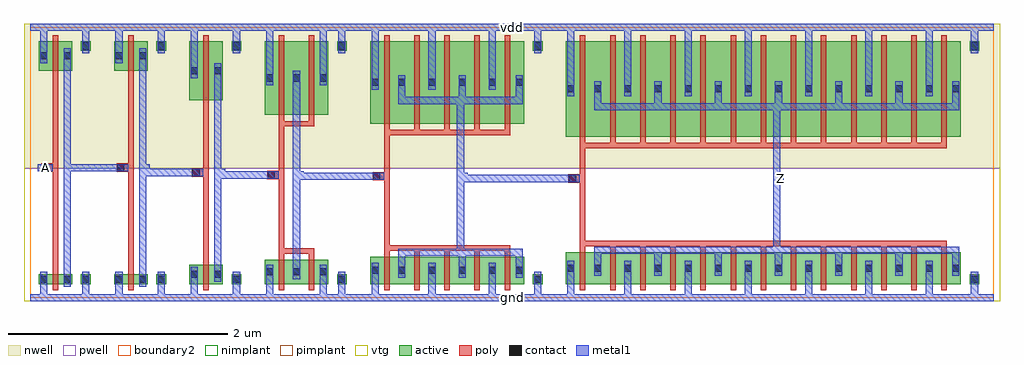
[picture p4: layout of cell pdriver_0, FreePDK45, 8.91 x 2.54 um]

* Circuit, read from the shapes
.subckt pdriver_0 A Z gnd vdd
M1 pinv_7_1/A A gnd gnd nfet w=0.09u l=0.05u
M2 pinv_8_2/A pinv_7_1/A gnd gnd nfet w=0.09u l=0.05u
M3 pinv_9_3/A pinv_8_2/A gnd gnd nfet w=0.18u l=0.05u
M4 pinv_10_4/A pinv_9_3/A gnd gnd nfet w=0.225u l=0.05u m=2
M5 pinv_11_5/A pinv_10_4/A gnd gnd nfet w=0.2525u l=0.05u m=5
M6 Z pinv_11_5/A gnd gnd nfet w=0.29u l=0.05u m=13
M7 pinv_7_1/A A vdd vdd pfet w=0.27u l=0.05u
M8 pinv_8_2/A pinv_7_1/A vdd vdd pfet w=0.27u l=0.05u
M9 pinv_9_3/A pinv_8_2/A vdd vdd pfet w=0.54u l=0.05u
M10 pinv_10_4/A pinv_9_3/A vdd vdd pfet w=0.675u l=0.05u m=2
M11 pinv_11_5/A pinv_10_4/A vdd vdd pfet w=0.755u l=0.05u m=5
M12 Z pinv_11_5/A vdd vdd pfet w=0.8725u l=0.05u m=13
.ends

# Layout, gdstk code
import gdstk
lib = gdstk.Library(unit=1e-6, precision=5e-10)
def R(c, l, rs):  # rectangles x0, y0, x1, y1
    for r in rs: c.add(gdstk.rectangle(r[:2], r[2:], *l))
def A(c, l, x, y, w, h, nx, ny, dx, dy):  # array of equal rectangles
    R(c, l, [(x+i*dx, y+j*dy, x+i*dx+w, y+j*dy+h) for i in range(nx) for j in range(ny)])
active = (1, 0)
pwell = (2, 0)
nwell = (3, 0)
nimplant = (4, 0)
pimplant = (5, 0)
vtg = (6, 0)
poly = (9, 0)
contact = (10, 0)
metal1 = (11, 0)
boundary2 = (239, 0)

contact_10 = lib.new_cell('contact_10')
R(contact_10, active, [(0,0.0225,0.09,0.1125)])
R(contact_10, nwell, [(-0.055,-0.0325,0.145,0.1675)])
R(contact_10, pimplant, [(0,0.0225,0.09,0.1125)])
R(contact_10, contact, [(0.0125,0.035,0.0775,0.1)])
R(contact_10, metal1, [(0.0125,0,0.0775,0.135)])
R(contact_10, boundary2, [(-0.055,-0.0325,0.145,0.1675)])

pmos_m1_w0_270_sm1_dm1_d = lib.new_cell('pmos_m1_w0_270_sm1_dm1_da_p')
R(pmos_m1_w0_270_sm1_dm1_d, active, [(0,0,0.305,0.27)])
R(pmos_m1_w0_270_sm1_dm1_d, nwell, [(-0.08,-0.08,0.385,0.35)])
R(pmos_m1_w0_270_sm1_dm1_d, pimplant, [(0,0,0.305,0.27)])
R(pmos_m1_w0_270_sm1_dm1_d, vtg, [(-0.08,-0.08,0.385,0.35)])
R(pmos_m1_w0_270_sm1_dm1_d, poly, [(0.1275,-0.055,0.1775,0.325), (0.1275,-0.055,0.1775,0.325)])
R(pmos_m1_w0_270_sm1_dm1_d, metal1, [(0.0125,0.0675,0.0775,0.2025), (0.2275,0.0675,0.2925,0.2025)])
R(pmos_m1_w0_270_sm1_dm1_d, boundary2, [(-0.08,-0.08,0.385,0.35)])
pmos_m1_w0_270_sm1_dm1_d.add(gdstk.Reference(contact_10, (0,0.0675)))
pmos_m1_w0_270_sm1_dm1_d.add(gdstk.Reference(contact_10, (0.215,0.0675)))
pmos_m1_w0_270_sm1_dm1_d.add(gdstk.Label('G', (0.1525,0.135), layer=9, texttype=0))
pmos_m1_w0_270_sm1_dm1_d.add(gdstk.Label('S', (0.045,0.135), layer=11, texttype=0))
pmos_m1_w0_270_sm1_dm1_d.add(gdstk.Label('D', (0.26,0.135), layer=11, texttype=0))

contact_9 = lib.new_cell('contact_9')
R(contact_9, active, [(0,0.0225,0.09,0.1125)])
R(contact_9, pwell, [(-0.055,-0.0325,0.145,0.1675)])
R(contact_9, nimplant, [(0,0.0225,0.09,0.1125)])
R(contact_9, contact, [(0.0125,0.035,0.0775,0.1)])
R(contact_9, metal1, [(0.0125,0,0.0775,0.135)])
R(contact_9, boundary2, [(-0.055,-0.0325,0.145,0.1675)])

nmos_m1_w0_090_sm1_dm1_d = lib.new_cell('nmos_m1_w0_090_sm1_dm1_da_p')
R(nmos_m1_w0_090_sm1_dm1_d, active, [(0,0,0.305,0.09)])
R(nmos_m1_w0_090_sm1_dm1_d, pwell, [(-0.08,-0.08,0.385,0.17)])
R(nmos_m1_w0_090_sm1_dm1_d, nimplant, [(0,0,0.305,0.09)])
R(nmos_m1_w0_090_sm1_dm1_d, vtg, [(-0.08,-0.08,0.385,0.17)])
R(nmos_m1_w0_090_sm1_dm1_d, poly, [(0.1275,-0.055,0.1775,0.145), (0.1275,-0.055,0.1775,0.145)])
R(nmos_m1_w0_090_sm1_dm1_d, metal1, [(0.0125,-0.0225,0.0775,0.1125), (0.2275,-0.0225,0.2925,0.1125)])
R(nmos_m1_w0_090_sm1_dm1_d, boundary2, [(-0.08,-0.08,0.385,0.17)])
nmos_m1_w0_090_sm1_dm1_d.add(gdstk.Reference(contact_9, (0,-0.0225)))
nmos_m1_w0_090_sm1_dm1_d.add(gdstk.Reference(contact_9, (0.215,-0.0225)))
nmos_m1_w0_090_sm1_dm1_d.add(gdstk.Label('G', (0.1525,0.045), layer=9, texttype=0))
nmos_m1_w0_090_sm1_dm1_d.add(gdstk.Label('S', (0.045,0.045), layer=11, texttype=0))
nmos_m1_w0_090_sm1_dm1_d.add(gdstk.Label('D', (0.26,0.045), layer=11, texttype=0))

contact_11 = lib.new_cell('contact_11')
R(contact_11, active, [(0,0.0225,0.09,0.1125)])
R(contact_11, nwell, [(-0.055,-0.0325,0.145,0.1675)])
R(contact_11, nimplant, [(0,0.0225,0.09,0.1125)])
R(contact_11, contact, [(0.0125,0.035,0.0775,0.1)])
R(contact_11, metal1, [(0.0125,0,0.0775,0.135)])
R(contact_11, boundary2, [(-0.055,-0.0325,0.145,0.1675)])

contact_12 = lib.new_cell('contact_12')
R(contact_12, active, [(0,0.0225,0.09,0.1125)])
R(contact_12, pwell, [(-0.055,-0.0325,0.145,0.1675)])
R(contact_12, pimplant, [(0,0.0225,0.09,0.1125)])
R(contact_12, contact, [(0.0125,0.035,0.0775,0.1)])
R(contact_12, metal1, [(0.0125,0,0.0775,0.135)])
R(contact_12, boundary2, [(-0.055,-0.0325,0.145,0.1675)])

contact_13 = lib.new_cell('contact_13')
R(contact_13, poly, [(0.03,0,0.105,0.075)])
R(contact_13, contact, [(0.035,0.005,0.1,0.07)])
R(contact_13, metal1, [(0,0.005,0.135,0.07)])
R(contact_13, boundary2, [(0,0,0.135,0.075)])

pinv_7 = lib.new_cell('pinv_7')
R(pinv_7, pwell, [(-0.055,-0.0325,0.7425,1.185)])
R(pinv_7, nwell, [(-0.055,1.185,0.7425,2.505)])
R(pinv_7, vtg, [(-0.055,-0.0325,0.7425,1.185), (-0.055,1.185,0.7425,2.505)])
R(pinv_7, poly, [(0.2075,0.27,0.2575,2.02), (0.14,1.1525,0.2075,1.2275)])
R(pinv_7, metal1, [(0,-0.0325,0.6875,0.0325), (0.0925,-0.0325,0.1575,0.1025), (0.4775,0,0.5425,0.17), (0.3075,0.1025,0.3725,2.2775), (0.0725,1.1575,0.2075,1.2225), (0.34,1.1575,0.405,1.2225), (0.0925,2.1425,0.1575,2.5025), (0.4775,2.3,0.5425,2.47), (0,2.4375,0.6875,2.5025)])
R(pinv_7, boundary2, [(0,0,0.6875,2.47), (0,0,0.6875,2.47)])
pinv_7.add(gdstk.Reference(pmos_m1_w0_270_sm1_dm1_d, (0.08,2.075)))
pinv_7.add(gdstk.Reference(nmos_m1_w0_090_sm1_dm1_d, (0.08,0.125)))
pinv_7.add(gdstk.Reference(contact_11, (0.465,2.2325)))
pinv_7.add(gdstk.Reference(contact_12, (0.465,0.1025)))
pinv_7.add(gdstk.Reference(contact_13, (0.0725,1.1525)))
pinv_7.add(gdstk.Label('A', (0.14,1.19), layer=11, texttype=0))
pinv_7.add(gdstk.Label('Z', (0.3725,1.19), layer=11, texttype=0))
pinv_7.add(gdstk.Label('gnd', (0.344,0), layer=11, texttype=0))
pinv_7.add(gdstk.Label('vdd', (0.344,2.47), layer=11, texttype=0))

pmos_m1_w0_540_sm1_dm1_d = lib.new_cell('pmos_m1_w0_540_sm1_dm1_da_p')
R(pmos_m1_w0_540_sm1_dm1_d, active, [(0,0,0.305,0.54)])
R(pmos_m1_w0_540_sm1_dm1_d, nwell, [(-0.08,-0.08,0.385,0.62)])
R(pmos_m1_w0_540_sm1_dm1_d, pimplant, [(0,0,0.305,0.54)])
R(pmos_m1_w0_540_sm1_dm1_d, vtg, [(-0.08,-0.08,0.385,0.62)])
R(pmos_m1_w0_540_sm1_dm1_d, poly, [(0.1275,-0.055,0.1775,0.595), (0.1275,-0.055,0.1775,0.595)])
R(pmos_m1_w0_540_sm1_dm1_d, metal1, [(0.0125,0.2025,0.0775,0.3375), (0.2275,0.2025,0.2925,0.3375)])
R(pmos_m1_w0_540_sm1_dm1_d, boundary2, [(-0.08,-0.08,0.385,0.62)])
pmos_m1_w0_540_sm1_dm1_d.add(gdstk.Reference(contact_10, (0,0.2025)))
pmos_m1_w0_540_sm1_dm1_d.add(gdstk.Reference(contact_10, (0.215,0.2025)))
pmos_m1_w0_540_sm1_dm1_d.add(gdstk.Label('G', (0.1525,0.27), layer=9, texttype=0))
pmos_m1_w0_540_sm1_dm1_d.add(gdstk.Label('S', (0.045,0.27), layer=11, texttype=0))
pmos_m1_w0_540_sm1_dm1_d.add(gdstk.Label('D', (0.26,0.27), layer=11, texttype=0))

nmos_m1_w0_180_sm1_dm1_d = lib.new_cell('nmos_m1_w0_180_sm1_dm1_da_p')
R(nmos_m1_w0_180_sm1_dm1_d, active, [(0,0,0.305,0.18)])
R(nmos_m1_w0_180_sm1_dm1_d, pwell, [(-0.08,-0.08,0.385,0.26)])
R(nmos_m1_w0_180_sm1_dm1_d, nimplant, [(0,0,0.305,0.18)])
R(nmos_m1_w0_180_sm1_dm1_d, vtg, [(-0.08,-0.08,0.385,0.26)])
R(nmos_m1_w0_180_sm1_dm1_d, poly, [(0.1275,-0.055,0.1775,0.235), (0.1275,-0.055,0.1775,0.235)])
R(nmos_m1_w0_180_sm1_dm1_d, metal1, [(0.0125,0.0225,0.0775,0.1575), (0.2275,0.0225,0.2925,0.1575)])
R(nmos_m1_w0_180_sm1_dm1_d, boundary2, [(-0.08,-0.08,0.385,0.26)])
nmos_m1_w0_180_sm1_dm1_d.add(gdstk.Reference(contact_9, (0,0.0225)))
nmos_m1_w0_180_sm1_dm1_d.add(gdstk.Reference(contact_9, (0.215,0.0225)))
nmos_m1_w0_180_sm1_dm1_d.add(gdstk.Label('G', (0.1525,0.09), layer=9, texttype=0))
nmos_m1_w0_180_sm1_dm1_d.add(gdstk.Label('S', (0.045,0.09), layer=11, texttype=0))
nmos_m1_w0_180_sm1_dm1_d.add(gdstk.Label('D', (0.26,0.09), layer=11, texttype=0))

pinv_8 = lib.new_cell('pinv_8')
R(pinv_8, pwell, [(-0.055,-0.0325,0.7425,1.185)])
R(pinv_8, nwell, [(-0.055,1.185,0.7425,2.505)])
R(pinv_8, vtg, [(-0.055,-0.0325,0.7425,1.185), (-0.055,1.185,0.7425,2.505)])
R(pinv_8, poly, [(0.2075,0.36,0.2575,1.75), (0.14,1.1075,0.2075,1.1825)])
R(pinv_8, metal1, [(0,-0.0325,0.6875,0.0325), (0.0925,-0.0325,0.1575,0.1475), (0.4775,0,0.5425,0.17), (0.3075,0.1475,0.3725,2.1425), (0.0725,1.1125,0.2075,1.1775), (0.34,1.1125,0.405,1.1775), (0.0925,2.0075,0.1575,2.5025), (0.4775,2.3,0.5425,2.47), (0,2.4375,0.6875,2.5025)])
R(pinv_8, boundary2, [(0,0,0.6875,2.47), (0,0,0.6875,2.47)])
pinv_8.add(gdstk.Reference(pmos_m1_w0_540_sm1_dm1_d, (0.08,1.805)))
pinv_8.add(gdstk.Reference(nmos_m1_w0_180_sm1_dm1_d, (0.08,0.125)))
pinv_8.add(gdstk.Reference(contact_11, (0.465,2.2325)))
pinv_8.add(gdstk.Reference(contact_12, (0.465,0.1025)))
pinv_8.add(gdstk.Reference(contact_13, (0.0725,1.1075)))
pinv_8.add(gdstk.Label('A', (0.14,1.145), layer=11, texttype=0))
pinv_8.add(gdstk.Label('Z', (0.3725,1.145), layer=11, texttype=0))
pinv_8.add(gdstk.Label('gnd', (0.344,0), layer=11, texttype=0))
pinv_8.add(gdstk.Label('vdd', (0.344,2.47), layer=11, texttype=0))

pmos_m2_w0_675_sm1_dm1_d = lib.new_cell('pmos_m2_w0_675_sm1_dm1_da_p')
R(pmos_m2_w0_675_sm1_dm1_d, active, [(0,0,0.58,0.675)])
R(pmos_m2_w0_675_sm1_dm1_d, nwell, [(-0.08,-0.08,0.66,0.755)])
R(pmos_m2_w0_675_sm1_dm1_d, pimplant, [(0,0,0.58,0.675)])
R(pmos_m2_w0_675_sm1_dm1_d, vtg, [(-0.08,-0.08,0.66,0.755)])
R(pmos_m2_w0_675_sm1_dm1_d, poly, [(0.1275,-0.105,0.4525,-0.055), (0.1275,-0.055,0.1775,0.73), (0.4025,-0.055,0.4525,0.73)])
A(pmos_m2_w0_675_sm1_dm1_d, metal1, 0.0125, 0.27, 0.065, 0.135, 3, 1, 0.245, 0)
R(pmos_m2_w0_675_sm1_dm1_d, boundary2, [(-0.08,-0.105,0.66,0.755)])
pmos_m2_w0_675_sm1_dm1_d.add(gdstk.Reference(contact_10, (0,0.27)))
pmos_m2_w0_675_sm1_dm1_d.add(gdstk.Reference(contact_10, (0.245,0.27)))
pmos_m2_w0_675_sm1_dm1_d.add(gdstk.Reference(contact_10, (0.49,0.27)))
pmos_m2_w0_675_sm1_dm1_d.add(gdstk.Label('G', (0.29,-0.08), layer=9, texttype=0))
pmos_m2_w0_675_sm1_dm1_d.add(gdstk.Label('S', (0.535,0.3375), layer=11, texttype=0))
pmos_m2_w0_675_sm1_dm1_d.add(gdstk.Label('S', (0.045,0.3375), layer=11, texttype=0))
pmos_m2_w0_675_sm1_dm1_d.add(gdstk.Label('D', (0.29,0.3375), layer=11, texttype=0))

nmos_m2_w0_225_sm1_dm1_d = lib.new_cell('nmos_m2_w0_225_sm1_dm1_da_p')
R(nmos_m2_w0_225_sm1_dm1_d, active, [(0,0,0.58,0.225)])
R(nmos_m2_w0_225_sm1_dm1_d, pwell, [(-0.08,-0.08,0.66,0.305)])
R(nmos_m2_w0_225_sm1_dm1_d, nimplant, [(0,0,0.58,0.225)])
R(nmos_m2_w0_225_sm1_dm1_d, vtg, [(-0.08,-0.08,0.66,0.305)])
R(nmos_m2_w0_225_sm1_dm1_d, poly, [(0.1275,-0.055,0.1775,0.28), (0.4025,-0.055,0.4525,0.28), (0.1275,0.28,0.4525,0.33)])
A(nmos_m2_w0_225_sm1_dm1_d, metal1, 0.0125, 0.045, 0.065, 0.135, 3, 1, 0.245, 0)
R(nmos_m2_w0_225_sm1_dm1_d, boundary2, [(-0.08,-0.08,0.66,0.33)])
nmos_m2_w0_225_sm1_dm1_d.add(gdstk.Reference(contact_9, (0,0.045)))
nmos_m2_w0_225_sm1_dm1_d.add(gdstk.Reference(contact_9, (0.245,0.045)))
nmos_m2_w0_225_sm1_dm1_d.add(gdstk.Reference(contact_9, (0.49,0.045)))
nmos_m2_w0_225_sm1_dm1_d.add(gdstk.Label('G', (0.29,0.305), layer=9, texttype=0))
nmos_m2_w0_225_sm1_dm1_d.add(gdstk.Label('S', (0.535,0.1125), layer=11, texttype=0))
nmos_m2_w0_225_sm1_dm1_d.add(gdstk.Label('S', (0.045,0.1125), layer=11, texttype=0))
nmos_m2_w0_225_sm1_dm1_d.add(gdstk.Label('D', (0.29,0.1125), layer=11, texttype=0))

pinv_9 = lib.new_cell('pinv_9')
R(pinv_9, pwell, [(-0.055,-0.0325,1.0175,1.185)])
R(pinv_9, nwell, [(-0.055,1.185,1.0175,2.505)])
R(pinv_9, vtg, [(-0.055,-0.0325,1.0175,1.185), (-0.055,1.185,1.0175,2.505)])
R(pinv_9, poly, [(0.2075,0.455,0.2575,1.565), (0.14,1.085,0.2075,1.16)])
R(pinv_9, metal1, [(0,-0.0325,0.9625,0.0325), (0.0925,-0.0325,0.1575,0.17), (0.5825,-0.0325,0.6475,0.17), (0.7525,0,0.8175,0.17), (0.3375,0.17,0.4025,2.075), (0.0725,1.09,0.2075,1.155), (0.37,1.09,0.435,1.155), (0.0925,1.94,0.1575,2.5025), (0.5825,1.94,0.6475,2.5025), (0.7525,2.3,0.8175,2.47), (0,2.4375,0.9625,2.5025)])
R(pinv_9, boundary2, [(0,0,0.9625,2.47), (0,0,0.9625,2.47)])
pinv_9.add(gdstk.Reference(pmos_m2_w0_675_sm1_dm1_d, (0.08,1.67)))
pinv_9.add(gdstk.Reference(nmos_m2_w0_225_sm1_dm1_d, (0.08,0.125)))
pinv_9.add(gdstk.Reference(contact_11, (0.74,2.2325)))
pinv_9.add(gdstk.Reference(contact_12, (0.74,0.1025)))
pinv_9.add(gdstk.Reference(contact_13, (0.0725,1.085)))
pinv_9.add(gdstk.Label('A', (0.14,1.1225), layer=11, texttype=0))
pinv_9.add(gdstk.Label('Z', (0.4025,1.1225), layer=11, texttype=0))
pinv_9.add(gdstk.Label('gnd', (0.481,0), layer=11, texttype=0))
pinv_9.add(gdstk.Label('vdd', (0.481,2.47), layer=11, texttype=0))

pmos_m5_w0_755_sm1_dm1_d = lib.new_cell('pmos_m5_w0_755_sm1_dm1_da_p')
R(pmos_m5_w0_755_sm1_dm1_d, active, [(0,0,1.405,0.755)])
R(pmos_m5_w0_755_sm1_dm1_d, nwell, [(-0.08,-0.08,1.485,0.835)])
R(pmos_m5_w0_755_sm1_dm1_d, pimplant, [(0,0,1.405,0.755)])
R(pmos_m5_w0_755_sm1_dm1_d, vtg, [(-0.08,-0.08,1.485,0.835)])
A(pmos_m5_w0_755_sm1_dm1_d, poly, 0.1275, -0.055, 0.05, 0.865, 5, 1, 0.275, 0)
R(pmos_m5_w0_755_sm1_dm1_d, poly, [(0.1275,-0.105,1.2775,-0.055)])
R(pmos_m5_w0_755_sm1_dm1_d, metal1, [(0.2575,0.18,1.3925,0.245), (0.2575,0.2125,0.3225,0.3775), (0.8075,0.2125,0.8725,0.3775), (1.3275,0.2125,1.3925,0.3775), (0.0125,0.31,0.0775,0.445), (0.5325,0.31,0.5975,0.445), (1.0825,0.31,1.1475,0.445)])
R(pmos_m5_w0_755_sm1_dm1_d, boundary2, [(-0.08,-0.105,1.485,0.835)])
pmos_m5_w0_755_sm1_dm1_d.add(gdstk.Reference(contact_10, (0,0.31)))
pmos_m5_w0_755_sm1_dm1_d.add(gdstk.Reference(contact_10, (0.245,0.31)))
pmos_m5_w0_755_sm1_dm1_d.add(gdstk.Reference(contact_10, (0.52,0.31)))
pmos_m5_w0_755_sm1_dm1_d.add(gdstk.Reference(contact_10, (0.795,0.31)))
pmos_m5_w0_755_sm1_dm1_d.add(gdstk.Reference(contact_10, (1.07,0.31)))
pmos_m5_w0_755_sm1_dm1_d.add(gdstk.Reference(contact_10, (1.315,0.31)))
pmos_m5_w0_755_sm1_dm1_d.add(gdstk.Label('G', (0.7025,-0.08), layer=9, texttype=0))
pmos_m5_w0_755_sm1_dm1_d.add(gdstk.Label('S', (1.115,0.3775), layer=11, texttype=0))
pmos_m5_w0_755_sm1_dm1_d.add(gdstk.Label('S', (0.565,0.3775), layer=11, texttype=0))
pmos_m5_w0_755_sm1_dm1_d.add(gdstk.Label('S', (0.045,0.3775), layer=11, texttype=0))
pmos_m5_w0_755_sm1_dm1_d.add(gdstk.Label('D', (0.825,0.2125), layer=11, texttype=0))

nmos_m5_w0_253_sm1_dm1_d = lib.new_cell('nmos_m5_w0_253_sm1_dm1_da_p')
R(nmos_m5_w0_253_sm1_dm1_d, active, [(0,0,1.405,0.2525)])
R(nmos_m5_w0_253_sm1_dm1_d, pwell, [(-0.08,-0.08,1.485,0.3325)])
R(nmos_m5_w0_253_sm1_dm1_d, nimplant, [(0,0,1.405,0.2525)])
R(nmos_m5_w0_253_sm1_dm1_d, vtg, [(-0.08,-0.08,1.485,0.3325)])
A(nmos_m5_w0_253_sm1_dm1_d, poly, 0.1275, -0.055, 0.05, 0.3625, 5, 1, 0.275, 0)
R(nmos_m5_w0_253_sm1_dm1_d, poly, [(0.1275,0.3075,1.2775,0.3575)])
R(nmos_m5_w0_253_sm1_dm1_d, metal1, [(0.0125,0.06,0.0775,0.195), (0.5325,0.06,0.5975,0.195), (1.0825,0.06,1.1475,0.195), (0.2575,0.125,0.3225,0.29), (0.8075,0.125,0.8725,0.29), (1.3275,0.125,1.3925,0.29), (0.2575,0.26,1.3925,0.325)])
R(nmos_m5_w0_253_sm1_dm1_d, boundary2, [(-0.08,-0.08,1.485,0.3575)])
nmos_m5_w0_253_sm1_dm1_d.add(gdstk.Reference(contact_9, (0,0.06)))
nmos_m5_w0_253_sm1_dm1_d.add(gdstk.Reference(contact_9, (0.245,0.06)))
nmos_m5_w0_253_sm1_dm1_d.add(gdstk.Reference(contact_9, (0.52,0.06)))
nmos_m5_w0_253_sm1_dm1_d.add(gdstk.Reference(contact_9, (0.795,0.06)))
nmos_m5_w0_253_sm1_dm1_d.add(gdstk.Reference(contact_9, (1.07,0.06)))
nmos_m5_w0_253_sm1_dm1_d.add(gdstk.Reference(contact_9, (1.315,0.06)))
nmos_m5_w0_253_sm1_dm1_d.add(gdstk.Label('G', (0.7025,0.3325), layer=9, texttype=0))
nmos_m5_w0_253_sm1_dm1_d.add(gdstk.Label('S', (0.045,0.1275), layer=11, texttype=0))
nmos_m5_w0_253_sm1_dm1_d.add(gdstk.Label('S', (1.115,0.1275), layer=11, texttype=0))
nmos_m5_w0_253_sm1_dm1_d.add(gdstk.Label('S', (0.565,0.1275), layer=11, texttype=0))
nmos_m5_w0_253_sm1_dm1_d.add(gdstk.Label('D', (0.825,0.2925), layer=11, texttype=0))

pinv_10 = lib.new_cell('pinv_10')
R(pinv_10, pwell, [(-0.055,-0.0325,1.8425,1.185)])
R(pinv_10, nwell, [(-0.055,1.185,1.8425,2.505)])
R(pinv_10, vtg, [(-0.055,-0.0325,1.8425,1.185), (-0.055,1.185,1.8425,2.505)])
R(pinv_10, poly, [(0.2075,0.4825,0.2575,1.485), (0.14,1.0725,0.2075,1.1475)])
R(pinv_10, metal1, [(0,-0.0325,1.7875,0.0325), (0.0925,-0.0325,0.1575,0.185), (0.6125,-0.0325,0.6775,0.185), (1.1625,-0.0325,1.2275,0.185), (1.5775,0,1.6425,0.17), (0.8725,0.385,0.9375,1.835), (0.0725,1.0775,0.2075,1.1425), (0.905,1.0775,0.97,1.1425), (0.0925,1.9,0.1575,2.5025), (0.6125,1.9,0.6775,2.5025), (1.1625,1.9,1.2275,2.5025), (1.5775,2.3,1.6425,2.47), (0,2.4375,1.7875,2.5025)])
R(pinv_10, boundary2, [(0,0,1.7875,2.47), (0,0,1.7875,2.47)])
pinv_10.add(gdstk.Reference(pmos_m5_w0_755_sm1_dm1_d, (0.08,1.59)))
pinv_10.add(gdstk.Reference(nmos_m5_w0_253_sm1_dm1_d, (0.08,0.125)))
pinv_10.add(gdstk.Reference(contact_11, (1.565,2.2325)))
pinv_10.add(gdstk.Reference(contact_12, (1.565,0.1025)))
pinv_10.add(gdstk.Reference(contact_13, (0.0725,1.0725)))
pinv_10.add(gdstk.Label('A', (0.14,1.11), layer=11, texttype=0))
pinv_10.add(gdstk.Label('Z', (0.9375,1.11), layer=11, texttype=0))
pinv_10.add(gdstk.Label('gnd', (0.894,0), layer=11, texttype=0))
pinv_10.add(gdstk.Label('vdd', (0.894,2.47), layer=11, texttype=0))

pmos_m13_w0_873_sm1_dm1_ = lib.new_cell('pmos_m13_w0_873_sm1_dm1_da_p')
R(pmos_m13_w0_873_sm1_dm1_, active, [(0,0,3.605,0.8725)])
R(pmos_m13_w0_873_sm1_dm1_, nwell, [(-0.08,-0.08,3.685,0.9525)])
R(pmos_m13_w0_873_sm1_dm1_, pimplant, [(0,0,3.605,0.8725)])
R(pmos_m13_w0_873_sm1_dm1_, vtg, [(-0.08,-0.08,3.685,0.9525)])
A(pmos_m13_w0_873_sm1_dm1_, poly, 0.1275, -0.055, 0.05, 0.9825, 13, 1, 0.275, 0)
R(pmos_m13_w0_873_sm1_dm1_, poly, [(0.1275,-0.105,3.4775,-0.055)])
A(pmos_m13_w0_873_sm1_dm1_, metal1, 0.2575, 0.27, 0.065, 0.165, 6, 1, 0.55, 0)
A(pmos_m13_w0_873_sm1_dm1_, metal1, 0.5325, 0.37, 0.065, 0.135, 6, 1, 0.55, 0)
R(pmos_m13_w0_873_sm1_dm1_, metal1, [(0.2575,0.24,3.5925,0.305), (3.5275,0.27,3.5925,0.435), (0.0125,0.37,0.0775,0.505)])
R(pmos_m13_w0_873_sm1_dm1_, boundary2, [(-0.08,-0.105,3.685,0.9525)])
pmos_m13_w0_873_sm1_dm1_.add(gdstk.Reference(contact_10, (0,0.37)))
pmos_m13_w0_873_sm1_dm1_.add(gdstk.Reference(contact_10, (0.245,0.37)))
pmos_m13_w0_873_sm1_dm1_.add(gdstk.Reference(contact_10, (0.52,0.37)))
pmos_m13_w0_873_sm1_dm1_.add(gdstk.Reference(contact_10, (0.795,0.37)))
pmos_m13_w0_873_sm1_dm1_.add(gdstk.Reference(contact_10, (1.07,0.37)))
pmos_m13_w0_873_sm1_dm1_.add(gdstk.Reference(contact_10, (1.345,0.37)))
pmos_m13_w0_873_sm1_dm1_.add(gdstk.Reference(contact_10, (1.62,0.37)))
pmos_m13_w0_873_sm1_dm1_.add(gdstk.Reference(contact_10, (1.895,0.37)))
pmos_m13_w0_873_sm1_dm1_.add(gdstk.Reference(contact_10, (2.17,0.37)))
pmos_m13_w0_873_sm1_dm1_.add(gdstk.Reference(contact_10, (2.445,0.37)))
pmos_m13_w0_873_sm1_dm1_.add(gdstk.Reference(contact_10, (2.72,0.37)))
pmos_m13_w0_873_sm1_dm1_.add(gdstk.Reference(contact_10, (2.995,0.37)))
pmos_m13_w0_873_sm1_dm1_.add(gdstk.Reference(contact_10, (3.27,0.37)))
pmos_m13_w0_873_sm1_dm1_.add(gdstk.Reference(contact_10, (3.515,0.37)))
pmos_m13_w0_873_sm1_dm1_.add(gdstk.Label('G', (1.8025,-0.08), layer=9, texttype=0))
pmos_m13_w0_873_sm1_dm1_.add(gdstk.Label('S', (2.215,0.4375), layer=11, texttype=0))
pmos_m13_w0_873_sm1_dm1_.add(gdstk.Label('S', (2.765,0.4375), layer=11, texttype=0))
pmos_m13_w0_873_sm1_dm1_.add(gdstk.Label('S', (0.045,0.4375), layer=11, texttype=0))
pmos_m13_w0_873_sm1_dm1_.add(gdstk.Label('S', (1.665,0.4375), layer=11, texttype=0))
pmos_m13_w0_873_sm1_dm1_.add(gdstk.Label('S', (0.565,0.4375), layer=11, texttype=0))
pmos_m13_w0_873_sm1_dm1_.add(gdstk.Label('S', (1.115,0.4375), layer=11, texttype=0))
pmos_m13_w0_873_sm1_dm1_.add(gdstk.Label('S', (3.315,0.4375), layer=11, texttype=0))
pmos_m13_w0_873_sm1_dm1_.add(gdstk.Label('D', (1.925,0.2725), layer=11, texttype=0))

nmos_m13_w0_290_sm1_dm1_ = lib.new_cell('nmos_m13_w0_290_sm1_dm1_da_p')
R(nmos_m13_w0_290_sm1_dm1_, active, [(0,0,3.605,0.29)])
R(nmos_m13_w0_290_sm1_dm1_, pwell, [(-0.08,-0.08,3.685,0.37)])
R(nmos_m13_w0_290_sm1_dm1_, nimplant, [(0,0,3.605,0.29)])
R(nmos_m13_w0_290_sm1_dm1_, vtg, [(-0.08,-0.08,3.685,0.37)])
A(nmos_m13_w0_290_sm1_dm1_, poly, 0.1275, -0.055, 0.05, 0.4, 13, 1, 0.275, 0)
R(nmos_m13_w0_290_sm1_dm1_, poly, [(0.1275,0.345,3.4775,0.395)])
A(nmos_m13_w0_290_sm1_dm1_, metal1, 0.5325, 0.0775, 0.065, 0.135, 6, 1, 0.55, 0)
A(nmos_m13_w0_290_sm1_dm1_, metal1, 0.2575, 0.145, 0.065, 0.165, 6, 1, 0.55, 0)
R(nmos_m13_w0_290_sm1_dm1_, metal1, [(0.0125,0.0775,0.0775,0.2125), (3.5275,0.145,3.5925,0.31), (0.2575,0.2775,3.5925,0.3425)])
R(nmos_m13_w0_290_sm1_dm1_, boundary2, [(-0.08,-0.08,3.685,0.395)])
nmos_m13_w0_290_sm1_dm1_.add(gdstk.Reference(contact_9, (0,0.0775)))
nmos_m13_w0_290_sm1_dm1_.add(gdstk.Reference(contact_9, (0.245,0.0775)))
nmos_m13_w0_290_sm1_dm1_.add(gdstk.Reference(contact_9, (0.52,0.0775)))
nmos_m13_w0_290_sm1_dm1_.add(gdstk.Reference(contact_9, (0.795,0.0775)))
nmos_m13_w0_290_sm1_dm1_.add(gdstk.Reference(contact_9, (1.07,0.0775)))
nmos_m13_w0_290_sm1_dm1_.add(gdstk.Reference(contact_9, (1.345,0.0775)))
nmos_m13_w0_290_sm1_dm1_.add(gdstk.Reference(contact_9, (1.62,0.0775)))
nmos_m13_w0_290_sm1_dm1_.add(gdstk.Reference(contact_9, (1.895,0.0775)))
nmos_m13_w0_290_sm1_dm1_.add(gdstk.Reference(contact_9, (2.17,0.0775)))
nmos_m13_w0_290_sm1_dm1_.add(gdstk.Reference(contact_9, (2.445,0.0775)))
nmos_m13_w0_290_sm1_dm1_.add(gdstk.Reference(contact_9, (2.72,0.0775)))
nmos_m13_w0_290_sm1_dm1_.add(gdstk.Reference(contact_9, (2.995,0.0775)))
nmos_m13_w0_290_sm1_dm1_.add(gdstk.Reference(contact_9, (3.27,0.0775)))
nmos_m13_w0_290_sm1_dm1_.add(gdstk.Reference(contact_9, (3.515,0.0775)))
nmos_m13_w0_290_sm1_dm1_.add(gdstk.Label('G', (1.8025,0.37), layer=9, texttype=0))
nmos_m13_w0_290_sm1_dm1_.add(gdstk.Label('S', (0.565,0.145), layer=11, texttype=0))
nmos_m13_w0_290_sm1_dm1_.add(gdstk.Label('S', (2.215,0.145), layer=11, texttype=0))
nmos_m13_w0_290_sm1_dm1_.add(gdstk.Label('S', (1.115,0.145), layer=11, texttype=0))
nmos_m13_w0_290_sm1_dm1_.add(gdstk.Label('S', (2.765,0.145), layer=11, texttype=0))
nmos_m13_w0_290_sm1_dm1_.add(gdstk.Label('S', (1.665,0.145), layer=11, texttype=0))
nmos_m13_w0_290_sm1_dm1_.add(gdstk.Label('S', (0.045,0.145), layer=11, texttype=0))
nmos_m13_w0_290_sm1_dm1_.add(gdstk.Label('S', (3.315,0.145), layer=11, texttype=0))
nmos_m13_w0_290_sm1_dm1_.add(gdstk.Label('D', (1.925,0.31), layer=11, texttype=0))

pinv_11 = lib.new_cell('pinv_11')
R(pinv_11, pwell, [(-0.055,-0.0325,4.0425,1.185)])
R(pinv_11, nwell, [(-0.055,1.185,4.0425,2.505)])
R(pinv_11, vtg, [(-0.055,-0.0325,4.0425,1.185), (-0.055,1.185,4.0425,2.505)])
R(pinv_11, poly, [(0.2075,0.52,0.2575,1.3675), (0.14,1.0525,0.2075,1.1275)])
A(pinv_11, metal1, 0.6125, -0.0325, 0.065, 0.235, 6, 1, 0.55, 0)
A(pinv_11, metal1, 0.6125, 1.8425, 0.065, 0.66, 6, 1, 0.55, 0)
R(pinv_11, metal1, [(0,-0.0325,3.9875,0.0325), (0.0925,-0.0325,0.1575,0.2025), (3.7775,0,3.8425,0.17), (1.9725,0.4025,2.0375,1.7775), (0.0725,1.0575,0.2075,1.1225), (2.005,1.0575,2.07,1.1225), (0.0925,1.8425,0.1575,2.5025), (3.7775,2.3,3.8425,2.47), (0,2.4375,3.9875,2.5025)])
R(pinv_11, boundary2, [(0,0,3.9875,2.47), (0,0,3.9875,2.47)])
pinv_11.add(gdstk.Reference(pmos_m13_w0_873_sm1_dm1_, (0.08,1.4725)))
pinv_11.add(gdstk.Reference(nmos_m13_w0_290_sm1_dm1_, (0.08,0.125)))
pinv_11.add(gdstk.Reference(contact_11, (3.765,2.2325)))
pinv_11.add(gdstk.Reference(contact_12, (3.765,0.1025)))
pinv_11.add(gdstk.Reference(contact_13, (0.0725,1.0525)))
pinv_11.add(gdstk.Label('A', (0.14,1.09), layer=11, texttype=0))
pinv_11.add(gdstk.Label('Z', (2.0375,1.09), layer=11, texttype=0))
pinv_11.add(gdstk.Label('gnd', (1.994,0), layer=11, texttype=0))
pinv_11.add(gdstk.Label('vdd', (1.994,2.47), layer=11, texttype=0))

pdriver_0 = lib.new_cell('pdriver_0')
R(pdriver_0, pwell, [(-0.055,-0.0325,8.855,1.185)])
R(pdriver_0, nwell, [(-0.055,1.185,8.855,2.505)])
R(pdriver_0, vtg, [(-0.055,-0.0325,8.855,1.185), (-0.055,1.185,8.855,2.505)])
R(pdriver_0, metal1, [(0,-0.0325,8.8,0.0325), (3.93,1.0575,3.995,1.1225), (3.9625,1.0575,4.9525,1.1225), (6.8175,1.0575,6.8825,1.1225), (2.4325,1.0775,2.4975,1.1425), (2.465,1.0775,3.165,1.1425), (1.715,1.09,1.78,1.155), (1.7475,1.09,2.2025,1.155), (3.93,1.09,3.995,1.11), (2.4325,1.11,2.4975,1.1225), (1.0275,1.1125,1.0925,1.1775), (1.06,1.1125,1.515,1.1775), (1.715,1.1225,1.78,1.145), (1.0275,1.145,1.0925,1.19), (0.0725,1.1575,0.2075,1.2225), (0.3725,1.1575,0.8275,1.2225), (0,2.4375,8.8,2.5025)])
R(pdriver_0, boundary2, [(0,0,8.8,2.47), (0,0,8.8,2.47)])
pdriver_0.add(gdstk.Reference(pinv_7, (0,0)))
pdriver_0.add(gdstk.Reference(pinv_7, (0.6875,0)))
pdriver_0.add(gdstk.Reference(pinv_8, (1.375,0)))
pdriver_0.add(gdstk.Reference(pinv_9, (2.0625,0)))
pdriver_0.add(gdstk.Reference(pinv_10, (3.025,0)))
pdriver_0.add(gdstk.Reference(pinv_11, (4.8125,0)))
pdriver_0.add(gdstk.Label('Z', (6.85,1.09), layer=11, texttype=0))
pdriver_0.add(gdstk.Label('A', (0.14,1.19), layer=11, texttype=0))
pdriver_0.add(gdstk.Label('gnd', (4.4,0), layer=11, texttype=0))
pdriver_0.add(gdstk.Label('vdd', (4.4,2.47), layer=11, texttype=0))

lib.write_gds('pdriver_0.gds')
